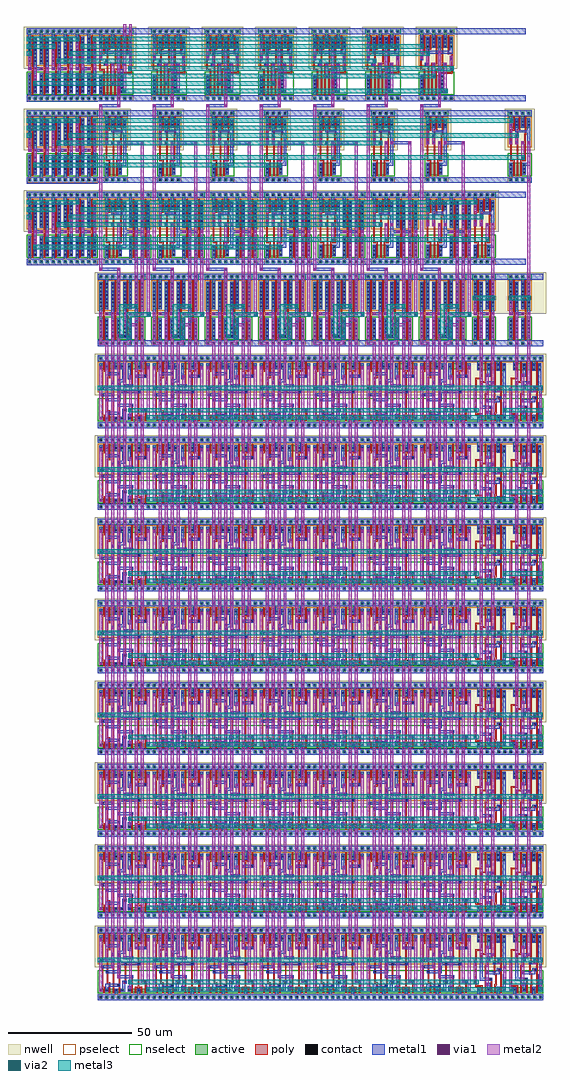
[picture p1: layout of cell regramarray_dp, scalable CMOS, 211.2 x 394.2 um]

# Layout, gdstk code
from math import pi, radians
import gdstk
lib = gdstk.Library(unit=1e-6, precision=1e-09)
def R(c, l, rs):  # rectangles x0, y0, x1, y1
    for r in rs: c.add(gdstk.rectangle(r[:2], r[2:], *l))
def A(c, l, x, y, w, h, nx, ny, dx, dy):  # array of equal rectangles
    R(c, l, [(x+i*dx, y+j*dy, x+i*dx+w, y+j*dy+h) for i in range(nx) for j in range(ny)])
def P(c, l, *ps):  # polygons
    for p in ps: c.add(gdstk.Polygon(p, *l))
contact = (25, 0)
nwell = (42, 0)
active = (43, 0)
pselect = (44, 0)
nselect = (45, 0)
poly = (46, 0)
metal1 = (49, 0)
via1 = (50, 0)
metal2 = (51, 0)
via2 = (61, 0)
metal3 = (62, 0)

invbuf_4x = lib.new_cell('invbuf_4x')
A(invbuf_4x, contact, 0.9, -0.3, 0.6, 0.6, 4, 2, 2.4, 3)
A(invbuf_4x, contact, 0.9, 4.2, 0.6, 0.6, 4, 4, 2.4, 1.5)
A(invbuf_4x, contact, 0.9, 14.7, 0.6, 0.6, 4, 7, 2.4, 1.5)
A(invbuf_4x, contact, 0.9, 26.7, 0.6, 0.6, 4, 1, 2.4, 0)
R(invbuf_4x, contact, [(0.9,11.7,1.5,12.3), (5.7,11.7,6.3,12.3)])
R(invbuf_4x, nwell, [(-1.2,12,6,28.8), (3.6,12,10.8,28.8)])
A(invbuf_4x, active, 0.6, -0.6, 1.2, 1.2, 4, 2, 2.4, 27)
R(invbuf_4x, active, [(0.6,2.1,4.2,10.2), (5.4,2.1,9,10.2), (0.6,13.8,4.2,24.9), (5.4,13.8,9,24.9)])
R(invbuf_4x, pselect, [(0,-1.2,4.8,1.2), (4.8,-1.2,9.6,1.2), (0,13.2,4.8,25.5), (4.8,13.2,9.6,25.5)])
R(invbuf_4x, nselect, [(0,1.5,4.8,10.8), (4.8,1.5,9.6,10.8), (0,25.8,4.8,28.2), (4.8,25.8,9.6,28.2)])
P(invbuf_4x, poly, [(7.5,25.5),(6.9,25.5),(6.9,12.6),(5.4,12.6),(5.4,11.4),(6.9,11.4),(6.9,1.5),(7.5,1.5)],
  [(2.7,25.5),(2.1,25.5),(2.1,12.6),(0.6,12.6),(0.6,11.4),(2.1,11.4),(2.1,1.5),(2.7,1.5)])
R(invbuf_4x, metal1, [(0,-1.2,9.6,1.2), (0,-1.2,4.8,1.2), (4.8,-1.2,9.6,1.2), (3,2.1,4.2,24.9), (7.8,2.1,9,24.9), (0.6,11.4,1.8,12.6), (3,11.4,6.6,12.6), (0,25.8,9.6,28.2), (0,25.8,4.8,28.2), (4.8,25.8,9.6,28.2)])
P(invbuf_4x, metal1, [(9.6,1.2),(6.6,1.2),(6.6,10.2),(5.4,10.2),(5.4,1.2),(4.8,1.2),(4.8,-1.2),(9.6,-1.2)],
  [(9.6,28.2),(4.8,28.2),(4.8,25.8),(5.4,25.8),(5.4,13.8),(6.6,13.8),(6.6,25.8),(9.6,25.8)],
  [(4.8,1.2),(1.8,1.2),(1.8,10.2),(0.6,10.2),(0.6,1.2),(0,1.2),(0,-1.2),(4.8,-1.2)],
  [(4.8,28.2),(0,28.2),(0,25.8),(0.6,25.8),(0.6,13.8),(1.8,13.8),(1.8,25.8),(4.8,25.8)])
R(invbuf_4x, via1, [(0.9,11.7,1.5,12.3), (3.3,11.7,3.9,12.3), (8.1,11.7,8.7,12.3)])
R(invbuf_4x, metal2, [(0.6,11.4,1.8,12.6), (0.6,11.4,1.8,12.6), (0.6,11.4,1.8,12.6), (0.6,11.4,2.1,12.6), (3,11.4,4.2,12.6), (3,11.4,4.2,12.6), (3,11.4,4.2,12.6), (5.4,11.4,6.6,12.6), (5.4,11.4,6.6,12.6), (7.8,11.4,9,12.6), (7.8,11.4,9,12.6), (7.8,11.4,9,12.6)])

mux2_dp_1x = lib.new_cell('mux2_dp_1x')
A(mux2_dp_1x, contact, 0.9, -0.3, 0.6, 0.6, 6, 2, 2.4, 27)
A(mux2_dp_1x, contact, 2.4, 2.7, 0.6, 0.6, 3, 2, 3.9, 21.3)
R(mux2_dp_1x, contact, [(12.6,2.7,13.2,3.3), (7.2,6.9,7.8,7.5), (10.8,10.8,11.4,11.4), (8.7,13.5,9.3,14.1), (0.9,14.1,1.5,14.7), (3.3,14.1,3.9,14.7), (6.3,15,6.9,15.6), (10.2,22.2,10.8,22.8), (12.6,22.2,13.2,22.8), (2.4,22.5,3,23.1), (6.3,22.5,6.9,23.1), (12.6,24,13.2,24.6)])
R(mux2_dp_1x, nwell, [(-1.2,12,15.6,28.8)])
A(mux2_dp_1x, active, 0.6, -0.6, 1.2, 1.2, 6, 2, 2.4, 27)
P(mux2_dp_1x, active, [(13.5,4.2),(9.9,4.2),(9.9,3.9),(2.1,3.9),(2.1,2.1),(13.5,2.1)],
  [(13.5,24.9),(2.1,24.9),(2.1,22.2),(9.9,22.2),(9.9,21.9),(13.5,21.9)])
R(mux2_dp_1x, pselect, [(0,-1.2,14.4,1.2), (0,13.2,14.4,25.5)])
R(mux2_dp_1x, nselect, [(0,1.5,14.4,10.8), (0,25.8,14.4,28.2)])
P(mux2_dp_1x, poly, [(4.2,4.8),(1.8,4.8),(1.8,18.6),(4.2,18.6),(4.2,25.5),(3.6,25.5),(3.6,19.2),(1.2,19.2),(1.2,15),(0.6,15),(0.6,13.8),(1.2,13.8),(1.2,4.2),(3.6,4.2),(3.6,1.5),(4.2,1.5)],
  [(5.7,25.5),(5.1,25.5),(5.1,17.7),(3.3,17.7),(3.3,15),(3,15),(3,13.8),(4.2,13.8),(4.2,15),(3.9,15),(3.9,17.1),(5.7,17.1)],
  [(8.1,25.5),(7.5,25.5),(7.5,16.2),(6,16.2),(6,12.9),(5.1,12.9),(5.1,1.5),(5.7,1.5),(5.7,12.3),(6.6,12.3),(6.6,14.7),(7.2,14.7),(7.2,15.6),(8.1,15.6)],
  [(8.1,7.8),(6.9,7.8),(6.9,6.6),(7.5,6.6),(7.5,1.5),(8.1,1.5)],
  [(9.9,9.6),(9.3,9.6),(9.3,13.2),(9.6,13.2),(9.6,25.5),(9,25.5),(9,14.4),(8.4,14.4),(8.4,13.2),(8.7,13.2),(8.7,9),(9.3,9),(9.3,5.1),(9,5.1),(9,1.5),(9.6,1.5),(9.6,4.5),(9.9,4.5)],
  [(12,25.5),(11.4,25.5),(11.4,11.7),(10.5,11.7),(10.5,10.5),(11.4,10.5),(11.4,1.5),(12,1.5)])
R(mux2_dp_1x, metal1, [(0,-1.2,14.4,1.2), (8.4,13.2,11.4,14.4), (0.6,13.8,1.8,15), (0,25.8,14.4,28.2)])
P(mux2_dp_1x, metal1, [(7.2,24.9),(6,24.9),(6,20.7),(5.4,20.7),(5.4,19.5),(7.2,19.5)],
  [(7.2,5.7),(5.4,5.7),(5.4,4.5),(6,4.5),(6,2.1),(7.2,2.1)],
  [(8.1,7.8),(4.2,7.8),(4.2,15),(3,15),(3,6.6),(8.1,6.6)],
  [(9,17.7),(6,17.7),(6,14.7),(7.2,14.7),(7.2,16.5),(9,16.5)],
  [(13.8,15),(13.5,15),(13.5,24.9),(12.3,24.9),(12.3,13.8),(12.6,13.8),(12.6,9.3),(12.3,9.3),(12.3,2.1),(13.5,2.1),(13.5,8.1),(13.8,8.1)],
  [(14.4,1.2),(11.1,1.2),(11.1,4.2),(9.9,4.2),(9.9,1.2),(3.3,1.2),(3.3,3.9),(2.1,3.9),(2.1,1.2),(0,1.2),(0,-1.2),(14.4,-1.2)],
  [(11.7,11.7),(9.9,11.7),(9.9,10.5),(5.4,10.5),(5.4,9.3),(11.1,9.3),(11.1,10.5),(11.7,10.5)],
  [(14.4,28.2),(0,28.2),(0,25.8),(2.1,25.8),(2.1,22.2),(3.3,22.2),(3.3,25.8),(9.9,25.8),(9.9,21.9),(11.1,21.9),(11.1,25.8),(14.4,25.8)])
R(mux2_dp_1x, via1, [(5.7,4.8,6.3,5.4), (5.7,9.6,6.3,10.2), (12.9,11.7,13.5,12.3), (10.5,13.5,11.1,14.1), (0.9,14.1,1.5,14.7), (3.3,14.1,3.9,14.7), (8.1,16.8,8.7,17.4), (5.7,19.8,6.3,20.4)])
R(mux2_dp_1x, metal2, [(5.4,4.5,6.6,20.7), (12.6,11.4,13.8,12.6), (10.2,13.2,11.4,14.4), (0.6,13.8,1.8,15), (3,13.8,4.2,15), (7.8,16.5,9,17.7)])

mux2_1x_8 = lib.new_cell('mux2_1x_8')
R(mux2_1x_8, nwell, [(-1.2,276,15.6,292.8)])
R(mux2_1x_8, metal1, [(0,-1.2,14.4,1.2), (0,25.8,14.4,28.2), (0,31.8,14.4,34.2), (0,58.8,14.4,61.2), (0,64.8,14.4,67.2), (0,91.8,14.4,94.2), (0,97.8,14.4,100.2), (0,124.8,14.4,127.2), (0,130.8,14.4,133.2), (0,157.8,14.4,160.2), (0,163.8,14.4,166.2), (0,190.8,14.4,193.2), (0,196.8,14.4,199.2), (0,223.8,14.4,226.2), (0,229.8,14.4,232.2), (0,256.8,14.4,259.2), (0,262.8,14.4,265.2), (0,289.8,14.4,292.2)])
A(mux2_1x_8, metal2, 12.6, 11.4, 1.2, 1.2, 1, 8, 0, 33)
A(mux2_1x_8, metal2, 10.2, 13.2, 1.2, 1.2, 1, 8, 0, 33)
A(mux2_1x_8, metal2, 0.6, 13.8, 1.2, 1.2, 1, 8, 0, 33)
R(mux2_1x_8, metal2, [(3,13.8,4.2,276.6), (7.8,16.5,9,276.6), (0.6,275.4,1.8,276.6)])
mux2_1x_8.add(gdstk.Reference(invbuf_4x, (0,264)))
r = gdstk.Reference(mux2_dp_1x, (0,0)); r.repetition = gdstk.Repetition(1, 8, v1=(16.8,0), v2=(0,33)); mux2_1x_8.add(r)

regramadrbuf = lib.new_cell('regramadrbuf')
A(regramadrbuf, metal1, 0, -1.5, 28.8, 2.7, 1, 3, 0, 33)
A(regramadrbuf, metal1, 0, 25.8, 28.8, 2.4, 1, 3, 0, 33)
A(regramadrbuf, metal2, 3, 5.4, 1.2, 7.2, 1, 3, 0, 33)
A(regramadrbuf, metal2, 7.8, 8.4, 1.2, 4.2, 1, 3, 0, 33)
A(regramadrbuf, metal2, 0.6, 11.4, 1.2, 7.2, 1, 3, 0, 33)
A(regramadrbuf, metal2, 10.2, 11.4, 1.2, 10.2, 1, 3, 0, 33)
A(regramadrbuf, metal2, 12.6, 11.4, 1.2, 4.2, 1, 3, 0, 33)
A(regramadrbuf, metal2, 17.4, 11.4, 1.2, 7.2, 1, 3, 0, 33)
A(regramadrbuf, metal2, 19.8, 11.4, 1.2, 13.2, 1, 3, 0, 33)
A(regramadrbuf, metal2, 22.2, 11.4, 1.2, 10.2, 1, 3, 0, 33)
A(regramadrbuf, metal2, 27, 11.4, 1.2, 13.2, 1, 3, 0, 33)
A(regramadrbuf, via2, 3.3, 5.7, 0.6, 0.6, 1, 3, 0, 33)
A(regramadrbuf, via2, 8.1, 8.7, 0.6, 0.6, 1, 3, 0, 33)
A(regramadrbuf, via2, 12.9, 14.7, 0.6, 0.6, 1, 3, 0, 33)
A(regramadrbuf, via2, 0.9, 17.7, 0.6, 0.6, 1, 3, 0, 33)
A(regramadrbuf, via2, 17.7, 17.7, 0.6, 0.6, 1, 3, 0, 33)
A(regramadrbuf, via2, 10.5, 20.7, 0.6, 0.6, 1, 3, 0, 33)
A(regramadrbuf, via2, 22.5, 20.7, 0.6, 0.6, 1, 3, 0, 33)
A(regramadrbuf, via2, 20.1, 23.7, 0.6, 0.6, 1, 3, 0, 33)
A(regramadrbuf, via2, 27.3, 23.7, 0.6, 0.6, 1, 3, 0, 33)
A(regramadrbuf, metal3, 2.7, 5.1, 26.1, 1.8, 1, 3, 0, 33)
A(regramadrbuf, metal3, 7.5, 8.1, 21.3, 1.8, 1, 3, 0, 33)
A(regramadrbuf, metal3, 12.3, 14.1, 16.5, 1.8, 1, 3, 0, 33)
A(regramadrbuf, metal3, 27, 14.1, 1.8, 1.8, 1, 4, 0, 3)
A(regramadrbuf, metal3, 0, 17.1, 2.1, 1.8, 1, 3, 0, 33)
A(regramadrbuf, metal3, 0, 17.1, 1.8, 1.8, 1, 3, 0, 3)
A(regramadrbuf, metal3, 17.1, 17.1, 11.7, 1.8, 1, 3, 0, 33)
A(regramadrbuf, metal3, 0, 20.1, 11.7, 1.8, 1, 3, 0, 33)
A(regramadrbuf, metal3, 21.9, 20.1, 6.9, 1.8, 1, 3, 0, 33)
A(regramadrbuf, metal3, 0, 23.1, 21.3, 1.8, 1, 3, 0, 33)
A(regramadrbuf, metal3, 26.7, 23.1, 2.1, 1.8, 1, 3, 0, 33)
A(regramadrbuf, metal3, 27, 47.1, 1.8, 1.8, 1, 4, 0, 3)
A(regramadrbuf, metal3, 0, 50.1, 1.8, 1.8, 1, 3, 0, 3)
A(regramadrbuf, metal3, 27, 80.1, 1.8, 1.8, 1, 4, 0, 3)
A(regramadrbuf, metal3, 0, 83.1, 1.8, 1.8, 1, 3, 0, 3)
R(regramadrbuf, metal3, [(27,5.1,28.8,6.9), (27,8.1,28.8,9.9), (27,38.1,28.8,39.9), (27,41.1,28.8,42.9), (27,71.1,28.8,72.9), (27,74.1,28.8,75.9)])
r = gdstk.Reference(invbuf_4x, (0,0)); r.repetition = gdstk.Repetition(3, 1, v1=(9.6,0), v2=(0,0)); regramadrbuf.add(r)
r = gdstk.Reference(invbuf_4x, (0,33)); r.repetition = gdstk.Repetition(3, 1, v1=(9.6,0), v2=(0,0)); regramadrbuf.add(r)
r = gdstk.Reference(invbuf_4x, (0,66)); r.repetition = gdstk.Repetition(3, 1, v1=(9.6,0), v2=(0,0)); regramadrbuf.add(r)

nand3_1x = lib.new_cell('nand3_1x')
A(nand3_1x, contact, 0.9, -0.3, 0.6, 0.6, 4, 2, 2.4, 22.2)
A(nand3_1x, contact, 0.9, 2.7, 0.6, 0.6, 1, 3, 0, 1.5)
A(nand3_1x, contact, 6.3, 2.7, 0.6, 0.6, 1, 3, 0, 1.5)
A(nand3_1x, contact, 0.9, 14.7, 0.6, 0.6, 3, 1, 2.4, 0)
A(nand3_1x, contact, 0.9, 23.4, 0.6, 0.6, 4, 2, 2.4, 3.3)
R(nand3_1x, nwell, [(-1.2,12,10.8,28.8)])
A(nand3_1x, active, 0.6, -0.6, 1.2, 1.2, 4, 2, 2.4, 27)
R(nand3_1x, active, [(0.6,2.1,7.2,6.9), (0.6,21,9,24.9)])
R(nand3_1x, pselect, [(0,-1.2,9.6,1.2), (0,13.2,9.6,25.5)])
R(nand3_1x, nselect, [(0,1.5,9.6,10.8), (0,25.8,9.6,28.2)])
A(nand3_1x, poly, 0.6, 14.4, 1.2, 1.2, 3, 1, 2.4, 0)
P(nand3_1x, poly, [(2.7,8.1),(1.5,8.1),(1.5,19.8),(2.7,19.8),(2.7,25.5),(2.1,25.5),(2.1,20.4),(0.9,20.4),(0.9,7.5),(2.1,7.5),(2.1,1.5),(2.7,1.5)],
  [(5.1,25.5),(4.5,25.5),(4.5,20.4),(3.6,20.4),(3.6,1.5),(4.2,1.5),(4.2,19.8),(5.1,19.8)],
  [(7.5,25.5),(6.9,25.5),(6.9,18.9),(6.6,18.9),(6.6,8.1),(5.1,8.1),(5.1,1.5),(5.7,1.5),(5.7,7.5),(7.2,7.5),(7.2,18.3),(7.5,18.3)])
A(nand3_1x, metal1, 0.6, 14.4, 1.2, 1.2, 3, 1, 2.4, 0)
R(nand3_1x, metal1, [(0,-1.2,9.6,1.2), (0,25.8,9.6,28.2)])
P(nand3_1x, metal1, [(9,24.9),(7.8,24.9),(7.8,20.1),(4.2,20.1),(4.2,24.9),(3,24.9),(3,19.2),(7.8,19.2),(7.8,6.9),(6,6.9),(6,2.1),(7.2,2.1),(7.2,5.7),(9,5.7)],
  [(9.6,28.2),(0,28.2),(0,25.8),(0.6,25.8),(0.6,21),(1.8,21),(1.8,25.8),(5.4,25.8),(5.4,21),(6.6,21),(6.6,25.8),(9.6,25.8)],
  [(9.6,1.2),(1.8,1.2),(1.8,6.9),(0.6,6.9),(0.6,1.2),(0,1.2),(0,-1.2),(9.6,-1.2)])
A(nand3_1x, via1, 0.9, 14.7, 0.6, 0.6, 4, 1, 2.4, 0)
A(nand3_1x, metal2, 0.6, 14.4, 1.2, 1.2, 4, 1, 2.4, 0)

regram_dp = lib.new_cell('regram_dp')
A(regram_dp, contact, 0.9, -0.3, 0.6, 0.6, 9, 2, 2.4, 27)
A(regram_dp, contact, 12.3, 2.4, 0.6, 0.6, 3, 2, 3.9, 21)
R(regram_dp, contact, [(0.9,2.4,1.5,3), (3.3,2.4,3.9,3), (7.2,2.4,7.8,3), (9.6,2.4,10.2,3), (8.1,4.5,8.7,5.1), (10.8,5.7,11.4,6.3), (18.9,6,19.5,6.6), (13.5,7.8,14.1,8.4), (3.6,9.9,4.2,10.5), (1.5,12,2.1,12.6), (10.8,13.2,11.4,13.8), (16.2,13.2,16.8,13.8), (1.5,14.4,2.1,15), (6,14.4,6.6,15), (13.5,15.6,14.1,16.2), (5.7,16.8,6.3,17.4), (18.9,19.5,19.5,20.1), (8.1,20.4,8.7,21), (0.9,23.4,1.5,24), (3.3,23.4,3.9,24), (7.2,23.4,7.8,24), (9.6,23.4,10.2,24)])
R(regram_dp, nwell, [(-1.2,12,22.8,28.8)])
A(regram_dp, active, 0.6, -0.6, 1.2, 1.2, 9, 2, 2.4, 27)
R(regram_dp, active, [(0.6,2.1,10.5,3.3), (12,2.1,21,3.3), (0.6,22.5,10.5,24.9), (12,22.5,21,24.9)])
R(regram_dp, pselect, [(0,-1.2,21.6,1.2), (0,13.2,21.6,25.5)])
R(regram_dp, nselect, [(0,1.5,21.6,10.8), (0,25.8,21.6,28.2)])
P(regram_dp, poly, [(19.8,6.9),(18.6,6.9),(18.6,5.7),(18.9,5.7),(18.9,1.5),(19.5,1.5),(19.5,5.7),(19.8,5.7)],
  [(19.8,20.4),(19.5,20.4),(19.5,25.5),(18.9,25.5),(18.9,20.4),(18.6,20.4),(18.6,19.2),(19.8,19.2)],
  [(18,4.2),(16.8,4.2),(16.8,12.9),(17.1,12.9),(17.1,14.1),(16.8,14.1),(16.8,21.6),(18,21.6),(18,25.5),(17.4,25.5),(17.4,22.2),(15.6,22.2),(15.6,25.5),(15,25.5),(15,21.6),(16.2,21.6),(16.2,14.1),(15.9,14.1),(15.9,12.9),(16.2,12.9),(16.2,4.2),(15,4.2),(15,1.5),(15.6,1.5),(15.6,3.6),(17.4,3.6),(17.4,1.5),(18,1.5)],
  [(14.4,8.7),(13.2,8.7),(13.2,7.5),(13.5,7.5),(13.5,1.5),(14.1,1.5),(14.1,7.5),(14.4,7.5)],
  [(14.4,16.5),(14.1,16.5),(14.1,25.5),(13.5,25.5),(13.5,16.5),(13.2,16.5),(13.2,15.3),(14.4,15.3)],
  [(11.7,6.6),(11.4,6.6),(11.4,12.9),(11.7,12.9),(11.7,14.1),(10.5,14.1),(10.5,12.9),(10.8,12.9),(10.8,6.6),(10.5,6.6),(10.5,5.4),(11.7,5.4)],
  [(9,25.5),(8.4,25.5),(8.4,21.3),(7.8,21.3),(7.8,20.1),(8.4,20.1),(8.4,5.4),(7.8,5.4),(7.8,4.2),(8.4,4.2),(8.4,1.5),(9,1.5)],
  [(6.9,15.3),(5.7,15.3),(5.7,14.1),(6,14.1),(6,1.5),(6.6,1.5),(6.6,14.1),(6.9,14.1)],
  [(6.6,25.5),(6,25.5),(6,17.7),(5.4,17.7),(5.4,16.5),(6.6,16.5)],
  [(5.1,6),(4.2,6),(4.2,9.6),(4.5,9.6),(4.5,10.8),(4.2,10.8),(4.2,18.9),(5.1,18.9),(5.1,25.5),(4.5,25.5),(4.5,19.5),(3.6,19.5),(3.6,10.8),(3.3,10.8),(3.3,9.6),(3.6,9.6),(3.6,5.4),(4.5,5.4),(4.5,1.5),(5.1,1.5)],
  [(2.7,4.2),(2.1,4.2),(2.1,11.7),(2.4,11.7),(2.4,12.9),(1.2,12.9),(1.2,11.7),(1.5,11.7),(1.5,3.6),(2.1,3.6),(2.1,1.5),(2.7,1.5)],
  [(2.7,25.5),(2.1,25.5),(2.1,22.2),(1.5,22.2),(1.5,15.3),(1.2,15.3),(1.2,14.1),(2.4,14.1),(2.4,15.3),(2.1,15.3),(2.1,21.6),(2.7,21.6)])
R(regram_dp, metal1, [(0,-1.2,21.6,1.2), (0.6,2.1,1.8,3.3), (19.8,2.1,21,3.3), (17.4,5.7,19.8,6.9), (7.8,7.5,14.4,8.7), (1.2,11.7,6.6,12.9), (1.2,14.1,6.9,15.3), (10.2,15.3,14.4,16.5), (5.4,16.5,6.6,17.7), (15,19.2,19.8,20.4), (0.6,22.5,1.8,24.9), (19.8,22.5,21,24.9), (0,25.8,21.6,28.2)])
P(regram_dp, metal1, [(21.6,1.2),(17.1,1.2),(17.1,3.3),(15.9,3.3),(15.9,1.2),(8.1,1.2),(8.1,3.3),(6.9,3.3),(6.9,1.2),(0,1.2),(0,-1.2),(21.6,-1.2)],
  [(21.6,28.2),(0,28.2),(0,25.8),(6.9,25.8),(6.9,22.5),(8.1,22.5),(8.1,25.8),(15.9,25.8),(15.9,22.5),(17.1,22.5),(17.1,25.8),(21.6,25.8)],
  [(17.1,14.1),(9.3,14.1),(9.3,17.4),(11.1,17.4),(11.1,24.9),(9.3,24.9),(9.3,22.5),(9.9,22.5),(9.9,18.6),(8.1,18.6),(8.1,10.8),(3.3,10.8),(3.3,9.6),(9.3,9.6),(9.3,12.9),(17.1,12.9)],
  [(13.8,4.5),(12,4.5),(12,2.1),(13.2,2.1),(13.2,3.3),(13.8,3.3)],
  [(13.8,20.1),(13.2,20.1),(13.2,24.9),(12,24.9),(12,18.6),(13.8,18.6)],
  [(11.7,6.6),(9.9,6.6),(9.9,3.3),(9.3,3.3),(9.3,2.1),(11.1,2.1),(11.1,5.4),(11.7,5.4)],
  [(9,5.4),(3,5.4),(3,2.1),(4.2,2.1),(4.2,4.2),(9,4.2)],
  [(9,21.3),(4.2,21.3),(4.2,24.9),(3,24.9),(3,20.1),(9,20.1)])
R(regram_dp, via1, [(0.9,2.4,1.5,3), (20.1,2.4,20.7,3), (12.9,3.6,13.5,4.2), (17.7,6,18.3,6.6), (8.1,7.8,8.7,8.4), (5.7,12,6.3,12.6), (3.3,14.4,3.9,15), (10.5,15.6,11.1,16.2), (5.7,16.8,6.3,17.4), (12.9,19.2,13.5,19.8), (15.3,19.5,15.9,20.1), (0.9,22.8,1.5,23.4), (20.1,22.8,20.7,23.4)])
R(regram_dp, metal2, [(0.6,2.1,1.8,23.7), (19.8,2.1,21,23.7), (12.6,3.3,13.8,20.1), (0.6,5.1,1.8,6.3), (17.4,5.7,18.6,6.9), (7.8,7.5,9,8.7), (12.6,9.6,13.8,10.8), (5.4,11.7,6.6,17.7), (5.4,11.7,6.6,12.9), (3,14.1,4.2,15.3), (10.2,15.3,11.4,16.5), (19.8,15.6,21,16.8), (15,19.2,16.2,20.4)])

regram_8 = lib.new_cell('regram_8')
R(regram_8, metal1, [(0,-1.2,21.6,1.2), (0,25.8,21.6,28.2), (0,31.8,21.6,34.2), (0,58.8,21.6,61.2), (0,64.8,21.6,67.2), (0,91.8,21.6,94.2), (0,97.8,21.6,100.2), (0,124.8,21.6,127.2), (0,130.8,21.6,133.2), (0,157.8,21.6,160.2), (0,163.8,21.6,166.2), (0,190.8,21.6,193.2), (0,196.8,21.6,199.2), (0,223.8,21.6,226.2), (0,229.8,21.6,232.2), (0,256.8,21.6,259.2)])
A(regram_8, metal2, 19.8, 2.4, 1.2, 14.4, 1, 8, 0, 33)
A(regram_8, metal2, 0.6, 5.1, 1.2, 10.5, 1, 8, 0, 33)
A(regram_8, metal2, 12.6, 5.4, 1.2, 5.4, 1, 8, 0, 33)
A(regram_8, metal2, 3, 259.8, 1.2, 1.2, 4, 1, 2.4, 0)
R(regram_8, metal2, [(17.4,5.7,18.6,261), (7.8,7.5,9,261), (5.4,11.7,6.6,261), (3,14.1,4.2,261), (10.2,15.3,11.4,261), (15,19.2,16.2,261), (15,259.8,16.2,261), (17.4,259.8,18.6,261)])
A(regram_8, via2, 20.1, 2.7, 0.6, 0.6, 1, 8, 0, 33)
A(regram_8, via2, 12.9, 5.7, 0.6, 0.6, 1, 8, 0, 33)
A(regram_8, via2, 0.9, 14.7, 0.6, 0.6, 1, 8, 0, 33)
A(regram_8, metal3, 19.5, 2.1, 1.8, 1.8, 1, 8, 0, 33)
A(regram_8, metal3, 12.3, 5.1, 1.8, 1.8, 1, 8, 0, 33)
A(regram_8, metal3, 0.3, 14.1, 1.8, 1.8, 1, 8, 0, 33)
r = gdstk.Reference(regram_dp, (0,0)); r.repetition = gdstk.Repetition(1, 8, v1=(24,0), v2=(0,33)); regram_8.add(r)

nand5_1x = lib.new_cell('nand5_1x')
A(nand5_1x, contact, 0.9, -0.3, 0.6, 0.6, 6, 2, 2.4, 21)
A(nand5_1x, contact, 0.9, 2.4, 0.6, 0.6, 1, 5, 0, 1.5)
A(nand5_1x, contact, 9.3, 2.4, 0.6, 0.6, 1, 5, 0, 1.5)
A(nand5_1x, contact, 0.9, 22.2, 0.6, 0.6, 6, 2, 2.4, 1.5)
A(nand5_1x, contact, 0.9, 26.7, 0.6, 0.6, 6, 1, 2.4, 0)
R(nand5_1x, contact, [(2.7,13.5,3.3,14.1), (5.7,13.5,6.3,14.1), (10.2,13.5,10.8,14.1), (0.9,15.6,1.5,16.2), (12.9,15.6,13.5,16.2)])
R(nand5_1x, nwell, [(-1.2,12,15.6,28.8)])
A(nand5_1x, active, 0.6, -0.6, 1.2, 1.2, 6, 2, 2.4, 27)
R(nand5_1x, active, [(0.6,2.1,10.2,9.3), (0.6,20.4,13.8,24.9)])
R(nand5_1x, pselect, [(0,-1.2,14.4,1.2), (0,13.2,14.4,25.5)])
R(nand5_1x, nselect, [(0,1.5,14.4,10.8), (0,25.8,14.4,28.2)])
P(nand5_1x, poly, [(2.7,11.7),(1.2,11.7),(1.2,15.3),(1.8,15.3),(1.8,16.5),(1.2,16.5),(1.2,17.7),(2.7,17.7),(2.7,25.5),(2.1,25.5),(2.1,18.3),(0.6,18.3),(0.6,11.1),(2.1,11.1),(2.1,1.5),(2.7,1.5)],
  [(5.1,25.5),(4.5,25.5),(4.5,20.1),(3.6,20.1),(3.6,14.4),(2.4,14.4),(2.4,13.2),(3.6,13.2),(3.6,1.5),(4.2,1.5),(4.2,19.5),(5.1,19.5)],
  [(7.5,25.5),(6.9,25.5),(6.9,14.4),(5.1,14.4),(5.1,1.5),(5.7,1.5),(5.7,13.2),(6.6,13.2),(6.6,13.8),(7.5,13.8)],
  [(11.1,14.4),(9.9,14.4),(9.9,25.5),(9.3,25.5),(9.3,12),(6.6,12),(6.6,1.5),(7.2,1.5),(7.2,11.4),(9.9,11.4),(9.9,13.2),(11.1,13.2)],
  [(13.8,18.3),(12.3,18.3),(12.3,25.5),(11.7,25.5),(11.7,17.7),(13.2,17.7),(13.2,16.5),(12.6,16.5),(12.6,15.3),(13.2,15.3),(13.2,10.5),(8.1,10.5),(8.1,1.5),(8.7,1.5),(8.7,9.9),(13.8,9.9)])
R(nand5_1x, metal1, [(0,-1.2,14.4,1.2), (2.4,13.2,4.2,14.4), (5.4,13.2,6.6,14.4), (9.9,13.2,11.4,14.4), (0.6,15.3,1.8,17.1), (12.6,15.3,13.8,17.1), (0,25.8,14.4,28.2)])
P(nand5_1x, metal1, [(13.8,24.9),(12.6,24.9),(12.6,19.2),(9,19.2),(9,24.9),(7.8,24.9),(7.8,19.2),(4.2,19.2),(4.2,24.9),(3,24.9),(3,18),(7.8,18),(7.8,10.5),(9,10.5),(9,2.1),(10.2,2.1),(10.2,11.7),(9,11.7),(9,18),(13.8,18)],
  [(14.4,28.2),(0,28.2),(0,25.8),(0.6,25.8),(0.6,20.4),(1.8,20.4),(1.8,25.8),(5.4,25.8),(5.4,20.4),(6.6,20.4),(6.6,25.8),(10.2,25.8),(10.2,20.4),(11.4,20.4),(11.4,25.8),(14.4,25.8)],
  [(14.4,1.2),(1.8,1.2),(1.8,9.3),(0.6,9.3),(0.6,1.2),(0,1.2),(0,-1.2),(14.4,-1.2)])
R(nand5_1x, via1, [(3.3,13.5,3.9,14.1), (5.7,13.5,6.3,14.1), (10.5,13.5,11.1,14.1), (0.9,16.2,1.5,16.8), (12.9,16.2,13.5,16.8), (8.1,18.3,8.7,18.9)])
R(nand5_1x, metal2, [(3,13.2,4.2,14.4), (5.4,13.2,6.6,14.4), (10.2,13.2,11.4,14.4), (0.6,15.9,1.8,17.1), (12.6,15.9,13.8,17.1), (7.8,18,9,19.2)])

regram_zipper = lib.new_cell('regram_zipper')
R(regram_zipper, metal1, [(0,-1.2,21.6,1.2), (0,25.8,21.6,28.2), (0.6,29.4,9,30.6), (0,31.8,21.6,34.2), (10.2,44.4,13.8,45.6), (10.2,45.6,11.4,48.6), (0,58.8,21.6,61.2), (0,64.8,21.6,67.2), (10.2,80.4,18.6,81.6), (0,91.8,21.6,94.2), (0.6,95.4,9,96.6), (0,97.8,21.6,100.2), (0,124.8,21.6,127.2)])
R(regram_zipper, via1, [(0.9,29.7,1.5,30.3), (8.1,29.7,8.7,30.3), (12.9,44.7,13.5,45.3), (10.5,47.7,11.1,48.3), (10.5,80.7,11.1,81.3), (17.7,80.7,18.3,81.3), (0.9,95.7,1.5,96.3), (8.1,95.7,8.7,96.3)])
A(regram_zipper, metal2, 3, -0.6, 1.2, 1.2, 4, 2, 2.4, 48)
A(regram_zipper, metal2, 3, 80.4, 1.2, 1.2, 4, 1, 2.4, 0)
R(regram_zipper, metal2, [(0.6,-0.6,1.8,12.6), (1.8,-0.6,4.2,0.6), (5.4,-0.6,6.6,12.6), (7.8,-0.6,9,3.6), (10.2,-0.6,13.2,0.6), (15,-0.6,16.2,6.9), (15,-0.6,16.2,0.6), (17.4,-0.6,18.6,10.2), (17.4,-0.6,18.6,0.6), (12,0.6,13.2,3.3), (9,2.4,10.2,3.6), (10.2,6.9,11.4,12.6), (11.4,6.9,16.2,8.1), (15,9,17.4,10.2), (15,10.2,16.2,12.6), (19.8,11.1,21,45.6), (7.8,11.4,9,30.6), (17.4,11.4,18.6,81.6), (14.7,14.4,16.2,15.6), (15,15.6,16.2,45.6), (0.6,29.4,1.8,96.6), (12.6,44.4,13.8,45.6), (13.5,45,13.8,45.15), (7.8,95.4,9,118.2), (3,112.2,4.2,113.4), (5.4,112.2,6.6,113.4), (10.2,112.2,11.4,113.4), (0.6,114.9,1.8,116.1), (12.6,114.9,13.8,116.1)])
R(regram_zipper, via2, [(12.3,2.4,12.9,3), (9.3,2.7,9.9,3.3), (20.1,11.4,20.7,12), (15,14.7,15.6,15.3)])
R(regram_zipper, metal3, [(11.7,1.5,13.5,12.6), (8.7,2.1,10.5,15.9), (13.5,10.8,21.3,12.6), (10.5,14.1,16.2,15.9)])
regram_zipper.add(gdstk.Reference(invbuf_4x, (9.6,0), rotation=pi, x_reflection=True))
regram_zipper.add(gdstk.Reference(invbuf_4x, (19.2,0), rotation=pi, x_reflection=True))
regram_zipper.add(gdstk.Reference(invbuf_4x, (12,33)))
regram_zipper.add(gdstk.Reference(nand3_1x, (2.4,33)))
regram_zipper.add(gdstk.Reference(nand3_1x, (2.4,66)))
regram_zipper.add(gdstk.Reference(nand5_1x, (0,99)))

regramvector_dp = lib.new_cell('regramvector_dp')
R(regramvector_dp, metal1, [(0,-1.2,21.6,1.2), (0,25.8,21.6,28.2), (0,31.8,21.6,34.2), (0,58.8,21.6,61.2), (0,64.8,21.6,67.2), (0,91.8,21.6,94.2), (0,97.8,21.6,100.2), (0,124.8,21.6,127.2), (0,130.8,21.6,133.2), (0,157.8,21.6,160.2), (0,163.8,21.6,166.2), (0,190.8,21.6,193.2), (0,196.8,21.6,199.2), (0,223.8,21.6,226.2), (0,229.8,21.6,232.2), (0,256.8,21.6,259.2), (0,262.8,21.6,265.2), (0,289.8,21.6,292.2), (0,289.8,21.6,292.2), (0,295.8,21.6,298.2), (0,322.8,21.6,325.2), (0,328.8,21.6,331.2), (0,355.8,21.6,358.2), (0,361.8,21.6,364.2), (0,388.8,21.6,391.2)])
A(regramvector_dp, metal2, 3, 259.8, 1.2, 4.8, 4, 1, 2.4, 0)
A(regramvector_dp, metal2, 3, 311.4, 1.2, 1.2, 3, 2, 2.4, 33)
R(regramvector_dp, metal2, [(15,259.8,16.2,264.6), (17.4,259.8,18.6,264.6), (10.2,365.4,11.4,377.4), (12.6,374.4,13.8,380.1), (3,376.2,4.2,377.4), (5.4,376.2,6.6,377.4), (0.6,378.9,1.8,380.1)])
R(regramvector_dp, via2, [(10.5,365.7,11.1,366.3), (12.9,374.7,13.5,375.3)])
A(regramvector_dp, metal3, 19.5, 2.1, 1.8, 1.8, 1, 8, 0, 33)
A(regramvector_dp, metal3, 12.3, 5.1, 1.8, 1.8, 1, 8, 0, 33)
A(regramvector_dp, metal3, 0.3, 14.1, 1.8, 1.8, 1, 8, 0, 33)
R(regramvector_dp, metal3, [(9.9,365.1,11.7,366.9), (12.3,374.1,14.1,375.9)])
regramvector_dp.add(gdstk.Reference(regram_8, (0,0)))
regramvector_dp.add(gdstk.Reference(regram_zipper, (0,264)))

regramarray_dp = lib.new_cell('regramarray_dp')
R(regramarray_dp, metal1, [(0,-1.2,172.8,1.2), (0,25.8,172.8,28.2), (0,31.8,172.8,34.2), (0,58.8,172.8,61.2), (0,64.8,172.8,67.2), (0,91.8,172.8,94.2), (0,97.8,172.8,100.2), (0,124.8,172.8,127.2), (0,130.8,172.8,133.2), (0,157.8,172.8,160.2), (0,163.8,172.8,166.2), (0,190.8,172.8,193.2), (0,196.8,172.8,199.2), (0,223.8,172.8,226.2), (0,229.8,172.8,232.2), (0,256.8,172.8,259.2), (0,262.8,172.8,265.2), (0,289.8,172.8,292.2), (-28.8,295.8,172.8,298.2), (-28.8,322.8,172.8,325.2), (-28.8,328.8,172.8,331.2), (-28.8,355.8,172.8,358.2), (-28.8,361.8,172.8,364.2), (-28.8,388.8,172.8,391.2)])
A(regramarray_dp, metal2, 166.2, 2.4, 1.2, 12.6, 1, 8, 0, 33)
A(regramarray_dp, metal2, 178.2, 2.4, 1.2, 10.2, 1, 8, 0, 33)
A(regramarray_dp, metal2, 151.8, 5.4, 1.2, 9.6, 1, 8, 0, 33)
A(regramarray_dp, metal2, 163.8, 5.4, 1.2, 7.2, 1, 8, 0, 33)
A(regramarray_dp, metal2, 161.4, 13.2, 1.2, 2.4, 1, 8, 0, 33)
A(regramarray_dp, metal2, 175.8, 13.2, 1.2, 2.4, 1, 8, 0, 33)
A(regramarray_dp, metal2, 7.8, 302.4, 1.2, 10.2, 4, 2, 21.6, 33)
A(regramarray_dp, metal2, 94.2, 305.4, 1.2, 7.2, 3, 2, 21.6, 33)
A(regramarray_dp, metal2, 3, 311.4, 1.2, 7.2, 4, 2, 43.2, 33)
A(regramarray_dp, metal2, 24.6, 311.4, 1.2, 10.2, 3, 2, 43.2, 33)
A(regramarray_dp, metal2, 5.4, 368.4, 1.2, 9, 4, 1, 21.6, 0)
A(regramarray_dp, metal2, 91.8, 371.4, 1.2, 6, 3, 1, 21.6, 0)
A(regramarray_dp, metal2, 0.6, 378.9, 1.2, 5.7, 4, 1, 43.2, 0)
A(regramarray_dp, metal2, 22.2, 378.9, 1.2, 8.7, 3, 1, 43.2, 0)
R(regramarray_dp, metal2, [(151.8,275.4,153,282.9), (166.2,275.4,167.4,282.9), (159,281.7,160.2,312.6), (173.4,281.7,174.6,345.6), (156.6,305.4,157.8,312.6), (5.4,311.4,6.6,312.6), (27,311.4,28.2,312.6), (48.6,311.4,49.8,315.6), (70.2,311.4,71.4,315.6), (91.8,311.4,93,312.6), (113.4,311.4,114.6,312.6), (135,311.4,136.2,315.6), (151.8,311.4,153,321.6), (154.2,311.4,155.4,315.6), (171,338.4,172.2,345.6), (5.4,344.4,6.6,345.6), (27,344.4,28.2,345.6), (48.6,344.4,49.8,348.6), (70.2,344.4,71.4,348.6), (91.8,344.4,93,345.6), (113.4,344.4,114.6,345.6), (135,344.4,136.2,348.6), (166.2,344.4,167.4,354.6), (168.6,344.4,169.8,348.6), (10.2,365.4,11.4,393), (12.6,374.4,13.8,393), (3,376.2,4.2,378.6), (24.6,376.2,25.8,378.6), (46.2,376.2,47.4,381.6), (67.8,376.2,69,381.6), (89.4,376.2,90.6,378.6), (111,376.2,112.2,378.6), (132.6,376.2,133.8,381.6), (10.2,391.8,11.4,393), (12.6,391.8,13.8,393)])
A(regramarray_dp, via2, 166.5, 2.7, 0.6, 0.6, 1, 8, 0, 33)
A(regramarray_dp, via2, 178.5, 2.7, 0.6, 0.6, 1, 8, 0, 33)
A(regramarray_dp, via2, 152.1, 5.7, 0.6, 0.6, 1, 8, 0, 33)
A(regramarray_dp, via2, 164.1, 5.7, 0.6, 0.6, 1, 8, 0, 33)
A(regramarray_dp, via2, 161.7, 14.7, 0.6, 0.6, 1, 8, 0, 33)
A(regramarray_dp, via2, 176.1, 14.7, 0.6, 0.6, 1, 8, 0, 33)
A(regramarray_dp, via2, 152.1, 282, 0.6, 0.6, 4, 1, 7.2, 0)
A(regramarray_dp, via2, 8.1, 302.7, 0.6, 0.6, 4, 2, 21.6, 33)
A(regramarray_dp, via2, 94.5, 305.7, 0.6, 0.6, 3, 2, 21.6, 33)
A(regramarray_dp, via2, 3.3, 317.7, 0.6, 0.6, 4, 2, 43.2, 33)
A(regramarray_dp, via2, 24.9, 320.7, 0.6, 0.6, 3, 2, 43.2, 33)
A(regramarray_dp, via2, 5.7, 368.7, 0.6, 0.6, 4, 1, 21.6, 0)
A(regramarray_dp, via2, 92.1, 371.7, 0.6, 0.6, 3, 1, 21.6, 0)
A(regramarray_dp, via2, 0.9, 383.7, 0.6, 0.6, 4, 1, 43.2, 0)
A(regramarray_dp, via2, 22.5, 386.7, 0.6, 0.6, 3, 1, 43.2, 0)
R(regramarray_dp, via2, [(156.9,305.7,157.5,306.3), (5.7,311.7,6.3,312.3), (27.3,311.7,27.9,312.3), (92.1,311.7,92.7,312.3), (113.7,311.7,114.3,312.3), (48.9,314.7,49.5,315.3), (70.5,314.7,71.1,315.3), (135.3,314.7,135.9,315.3), (154.5,314.7,155.1,315.3), (152.1,320.7,152.7,321.3), (171.3,338.7,171.9,339.3), (5.7,344.7,6.3,345.3), (27.3,344.7,27.9,345.3), (92.1,344.7,92.7,345.3), (113.7,344.7,114.3,345.3), (48.9,347.7,49.5,348.3), (70.5,347.7,71.1,348.3), (135.3,347.7,135.9,348.3), (168.9,347.7,169.5,348.3), (166.5,353.7,167.1,354.3), (12.9,374.7,13.5,375.3), (3.3,377.7,3.9,378.3), (24.9,377.7,25.5,378.3), (89.7,377.7,90.3,378.3), (111.3,377.7,111.9,378.3), (46.5,380.7,47.1,381.3), (68.1,380.7,68.7,381.3), (132.9,380.7,133.5,381.3)])
A(regramarray_dp, metal3, 19.5, 2.1, 148.2, 1.8, 1, 8, 0, 33)
A(regramarray_dp, metal3, 12.3, 5.1, 141.6, 1.8, 1, 8, 0, 33)
A(regramarray_dp, metal3, 163.5, 5.1, 16.2, 1.8, 1, 8, 0, 33)
A(regramarray_dp, metal3, 0, 14.1, 179.7, 1.8, 1, 8, 0, 33)
A(regramarray_dp, metal3, 0, 14.1, 1.8, 1.8, 1, 8, 0, 33)
A(regramarray_dp, metal3, -28.8, 314.1, 1.8, 1.8, 1, 3, 0, 3)
A(regramarray_dp, metal3, -28.8, 347.1, 1.8, 1.8, 1, 3, 0, 3)
A(regramarray_dp, metal3, -28.8, 380.1, 1.8, 1.8, 1, 3, 0, 3)
R(regramarray_dp, metal3, [(177.9,2.1,179.7,3.9), (177.9,2.1,179.7,3.9), (177.9,5.1,179.7,6.9), (177.9,35.1,179.7,36.9), (177.9,35.1,179.7,36.9), (177.9,38.1,179.7,39.9), (177.9,68.1,179.7,69.9), (177.9,68.1,179.7,69.9), (177.9,71.1,179.7,72.9), (177.9,101.1,179.7,102.9), (177.9,101.1,179.7,102.9), (177.9,104.1,179.7,105.9), (177.9,134.1,179.7,135.9), (177.9,134.1,179.7,135.9), (177.9,137.1,179.7,138.9), (177.9,167.1,179.7,168.9), (177.9,167.1,179.7,168.9), (177.9,170.1,179.7,171.9), (177.9,200.1,179.7,201.9), (177.9,200.1,179.7,201.9), (177.9,203.1,179.7,204.9), (171,233.1,172.8,234.9), (177.9,233.1,179.7,234.9), (177.9,233.1,179.7,234.9), (177.9,236.1,179.7,237.9), (151.5,281.4,160.5,283.2), (165.9,281.4,174.9,283.2), (-1.8,302.1,74.1,303.9), (-1.8,305.1,158.1,306.9), (-1.8,311.1,114.9,312.9), (-1.8,314.1,155.7,315.9), (-3,317.1,134.1,318.9), (-2.1,320.1,153.3,321.9), (-3.9,335.1,74.1,336.9), (-3.9,338.1,172.5,339.9), (-4.5,344.1,114.9,345.9), (-4.5,347.1,170.1,348.9), (-4.2,350.1,134.1,351.9), (-2.1,353.1,167.7,354.9), (9.9,365.1,141.3,366.9), (-2.4,368.1,71.7,369.9), (-2.4,371.1,136.5,372.9), (12.3,374.1,143.7,375.9), (-3.3,377.1,112.5,378.9), (-3.6,380.1,134.1,381.9), (-3.6,383.1,131.7,384.9), (-2.1,386.1,110.1,387.9)])
regramarray_dp.add(gdstk.Reference(mux2_1x_8, (165.6,0)))
regramarray_dp.add(gdstk.Reference(mux2_1x_8, (151.2,0)))
r = gdstk.Reference(regramadrbuf, (-28.8,297)); r.repetition = gdstk.Repetition(1, 1, v1=(31.2,0), v2=(0,96)); regramarray_dp.add(r)
regramarray_dp.add(gdstk.Reference(nand3_1x, (165.6,330)))
regramarray_dp.add(gdstk.Reference(nand3_1x, (151.2,297)))
regramarray_dp.add(gdstk.Reference(regramvector_dp, (0,0)))
regramarray_dp.add(gdstk.Reference(regramvector_dp, (21.6,0)))
regramarray_dp.add(gdstk.Reference(regramvector_dp, (43.2,0)))
regramarray_dp.add(gdstk.Reference(regramvector_dp, (64.8,0)))
regramarray_dp.add(gdstk.Reference(regramvector_dp, (86.4,0)))
regramarray_dp.add(gdstk.Reference(regramvector_dp, (108,0)))
regramarray_dp.add(gdstk.Reference(regramvector_dp, (129.6,0)))

lib.write_gds('regramarray_dp.gds')
